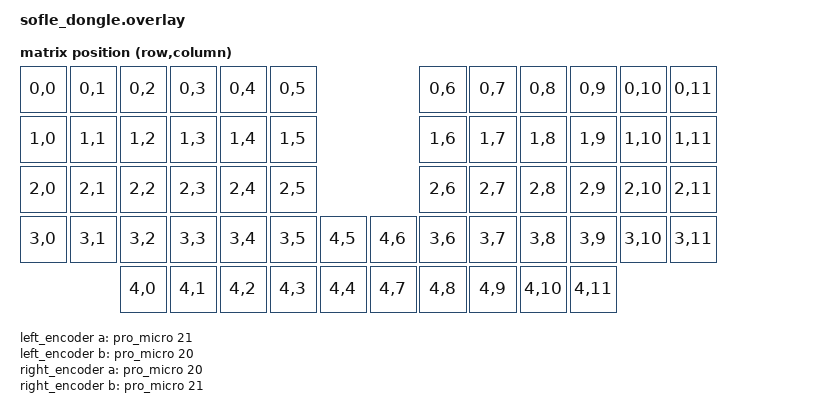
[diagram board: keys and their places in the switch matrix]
/*
 * Copyright (c) 2020 The ZMK Contributors
 *
 * SPDX-License-Identifier: MIT
 */

#include <dt-bindings/led/led.h>
#include <dt-bindings/zmk/matrix_transform.h>
#include <layouts/josefadamcik/sofle.dtsi>

&josefadamcik_sofle_layout {
    transform = <&default_transform>;
};

/ {
    chosen {
        zephyr,display = &oled;
        zmk,kscan = &mock_kscan;
        zmk,matrix-transform = &default_transform;
        zmk,physical-layout = &josefadamcik_sofle_layout;
        zmk,underglow = &led_strip;
    };

    default_transform: keymap_transform_0 {
        compatible = "zmk,matrix-transform";
        columns = <16>;
        rows = <4>;

        map = <
            RC(0,0) RC(0,1) RC(0,2) RC(0,3) RC(0,4) RC(0,5)                 RC(0,6) RC(0,7) RC(0,8)  RC(0,9) RC(0,10) RC(0,11)
            RC(1,0) RC(1,1) RC(1,2) RC(1,3) RC(1,4) RC(1,5)                 RC(1,6) RC(1,7) RC(1,8)  RC(1,9) RC(1,10) RC(1,11)
            RC(2,0) RC(2,1) RC(2,2) RC(2,3) RC(2,4) RC(2,5)                 RC(2,6) RC(2,7) RC(2,8)  RC(2,9) RC(2,10) RC(2,11)
            RC(3,0) RC(3,1) RC(3,2) RC(3,3) RC(3,4) RC(3,5) RC(4,5) RC(4,6) RC(3,6) RC(3,7) RC(3,8)  RC(3,9) RC(3,10) RC(3,11)
                            RC(4,0) RC(4,1) RC(4,2) RC(4,3) RC(4,4) RC(4,7) RC(4,8) RC(4,9) RC(4,10) RC(4,11)
        >;
    };

    mock_kscan: kscan_0 {
        compatible = "zmk,kscan-mock";
        columns = <0>;
        rows = <0>;
        events = <0>;
    };

    /*
     * The encoder devices are intentionally disabled on the dongle. Keeping
     * both slots in the same left/right order lets the central process sensor
     * events received from the two peripheral halves.
     */
    left_encoder: encoder_left {
        compatible = "alps,ec11";
        a-gpios = <&pro_micro 21 (GPIO_ACTIVE_HIGH | GPIO_PULL_UP)>;
        b-gpios = <&pro_micro 20 (GPIO_ACTIVE_HIGH | GPIO_PULL_UP)>;
        steps = <80>;
        status = "disabled";
    };

    right_encoder: encoder_right {
        compatible = "alps,ec11";
        a-gpios = <&pro_micro 20 (GPIO_ACTIVE_HIGH | GPIO_PULL_UP)>;
        b-gpios = <&pro_micro 21 (GPIO_ACTIVE_HIGH | GPIO_PULL_UP)>;
        steps = <80>;
        status = "disabled";
    };

    sensors: sensors {
        compatible = "zmk,keymap-sensors";
        sensors = <&left_encoder &right_encoder>;
        triggers-per-rotation = <20>;
    };
};

&pinctrl {
    spi3_default: spi3_default {
        group1 {
            psels = <NRF_PSEL(SPIM_MOSI, 0, 6)>;
        };
    };

    spi3_sleep: spi3_sleep {
        group1 {
            psels = <NRF_PSEL(SPIM_MOSI, 0, 6)>;
            low-power-enable;
        };
    };
};

/*
 * ZMK's RGB behavior is global. A one-pixel strip on an otherwise unused pin
 * gives the dongle a local state to convert relative RGB commands before it
 * forwards the resulting absolute command to both halves.
 */
&spi3 {
    compatible = "nordic,nrf-spim";
    status = "okay";

    pinctrl-0 = <&spi3_default>;
    pinctrl-1 = <&spi3_sleep>;
    pinctrl-names = "default", "sleep";

    led_strip: ws2812@0 {
        compatible = "worldsemi,ws2812-spi";
        reg = <0>;
        spi-max-frequency = <4000000>;
        chain-length = <1>;
        spi-one-frame = <0x70>;
        spi-zero-frame = <0x40>;

        color-mapping = <
            LED_COLOR_ID_GREEN
            LED_COLOR_ID_RED
            LED_COLOR_ID_BLUE
        >;
    };
};

/*
 * Matches the known-working Dactyl dongle: SH1106 128x64 at 0x3c on the
 * nice!nano's normal I2C pins (Pro Micro D2/D3).
 */
&i2c0 {
    status = "okay";
    clock-frequency = <I2C_BITRATE_FAST>;

    oled: sh1106@3c {
        compatible = "sinowealth,sh1106";
        reg = <0x3c>;
        width = <128>;
        height = <64>;
        segment-offset = <2>;
        page-offset = <0>;
        display-offset = <0>;
        multiplex-ratio = <63>;
        segment-remap;
        com-invdir;
        prechargep = <0x22>;
    };
};
